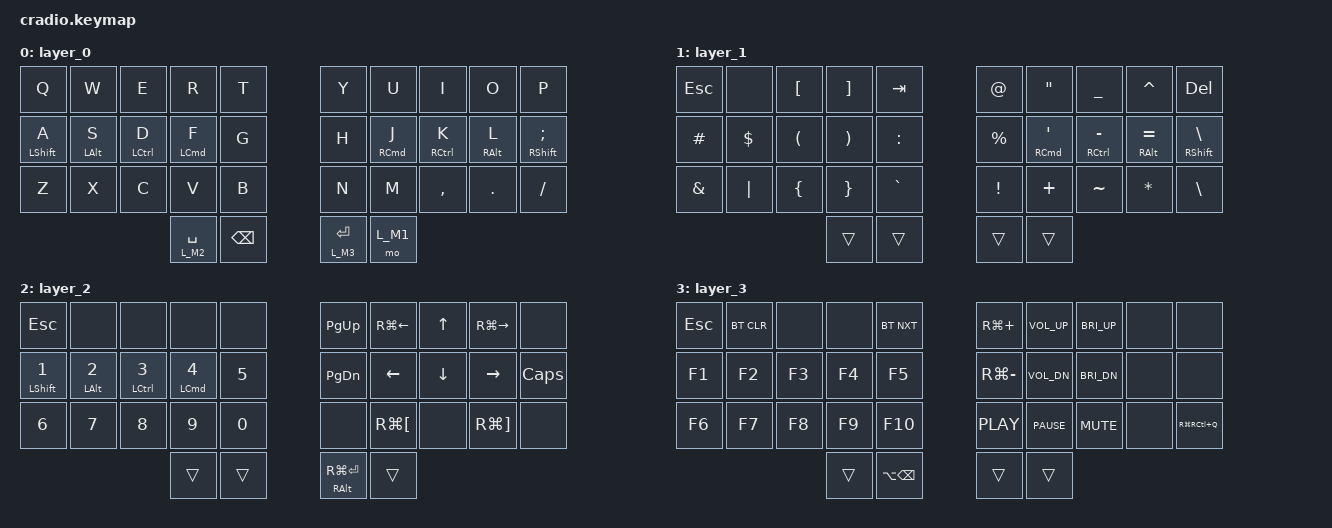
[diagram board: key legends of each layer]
/*
 * Copyright (c) 2020 The ZMK Contributors
 *
 * SPDX-License-Identifier: MIT
 */

#include <behaviors.dtsi>
#include <dt-bindings/zmk/keys.h>
#include <dt-bindings/zmk/bt.h>


// Layers (MacOs)
#define L_M0 0
#define L_M1 1
#define L_M2 2
#define L_M3 3


&mt {
	flavor = "balanced";
	tapping_term_ms = <200>;
};

/ {
	combos {
		compatible = "zmk,combos";
	};

	chosen {
		zephyr,console = &cdc_acm_uart;
	};

	keymap {
		compatible = "zmk,keymap";

		// MAC OS LAYERS

		layer_0 {
			bindings = <
			&kp Q			&kp W			&kp E			&kp R			&kp T				&kp Y			&kp U			&kp I			&kp O			&kp P
			&mt LSHFT A		&mt LALT S		&mt LCTRL D		&mt LCMD F		&kp G				&kp H			&mt RCMD J		&mt RCTRL K		&mt RALT L		&mt RSHFT SEMICOLON
			&kp Z			&kp X			&kp C			&kp V			&kp B				&kp N			&kp M			&kp COMMA		&kp PERIOD		&kp SLASH
															&lt L_M2 SPACE	&kp BACKSPACE		&lt L_M3 ENTER	&mo L_M1
			>;
		};

		layer_1 {
			bindings = <
			&kp ESC			&none			&kp LBKT		&kp RBKT		&kp TAB				&kp AT			&kp DQT			&kp UNDERSCORE	&kp CARET		&kp DEL
			&kp HASH		&kp DOLLAR		&kp LPAR		&kp RPAR		&kp COLON			&kp PERCENT		&mt RCMD APOS	&mt RCTRL MINUS	&mt RALT EQUAL	&mt RSHFT BACKSLASH
			&kp AMPS		&kp PIPE		&kp LBRC		&kp RBRC		&kp GRAVE			&kp EXCLAMATION	&kp PLUS		&kp TILDE		&kp STAR		&kp BACKSLASH
															&trans			&trans				&trans			&trans
			>;
		};

		layer_2 {
			bindings = <
			&kp ESC			&none			&none			&none			&none				&kp PAGE_UP		&kp RG(LEFT)	&kp UP			&kp RG(RIGHT)	&none
			&mt LSHFT N1	&mt LALT N2		&mt LCTRL N3	&mt LCMD N4		&kp N5				&kp PAGE_DOWN	&kp LEFT		&kp DOWN		&kp RIGHT		&kp CAPSLOCK
			&kp N6			&kp N7			&kp N8			&kp N9			&kp N0				&none			&kp RG(LBKT)	&none			&kp RG(RBKT)	&none
															&trans			&trans				&mt RALT RG(ENTER) &trans
			>;
		};

		layer_3 {
			bindings = <
			&kp ESC			&bt BT_CLR		&none			&none			&bt BT_NXT			&kp RG(PLUS)	&kp C_VOL_UP	&kp C_BRI_UP	&none			&none
			&kp F1			&kp F2			&kp F3			&kp F4			&kp F5				&kp RG(MINUS)	&kp C_VOL_DN	&kp C_BRI_DN	&none			&none
			&kp F6			&kp F7			&kp F8			&kp F9			&kp F10				&kp C_PLAY		&kp C_PAUSE		&kp C_MUTE		&none			&kp RG(RC(Q))
															&trans			&kp LA(BACKSPACE)	&trans			&trans
			>;
		};
	};
};

// Allow USB logging
&usbd {
	status = "okay";
	cdc_acm_uart: cdc_acm_uart {
		compatible = "zephyr,cdc-acm-uart";
		label = "CDC_ACM_0";
	};
};
